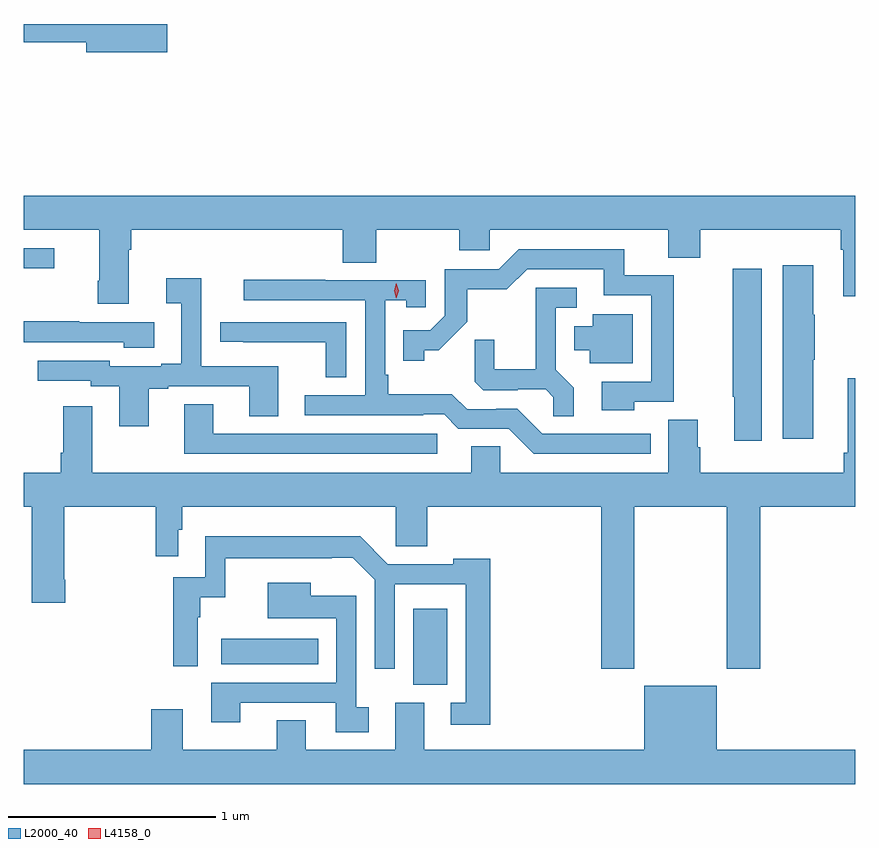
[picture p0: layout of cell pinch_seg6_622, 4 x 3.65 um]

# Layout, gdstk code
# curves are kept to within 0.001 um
import gdstk
lib = gdstk.Library(unit=1e-6, precision=1e-09)
def R(c, l, rs):  # rectangles x0, y0, x1, y1
    for r in rs: c.add(gdstk.rectangle(r[:2], r[2:], *l))
def P(c, l, *ps):  # polygons
    for p in ps: c.add(gdstk.Polygon(p, *l))
L2000_40 = (2000, 40)
L4158_0 = (4158, 0)

pinch_seg6_622 = lib.new_cell('pinch_seg6_622')
R(pinch_seg6_622, L2000_40, [(433.982,971.788,434.146,972.154), (433.059,971.888,433.526,972.01), (432.108,973.791,432.256,973.887)])
P(pinch_seg6_622, L2000_40, [(432.799,974.966),(432.108,974.966),(432.108,974.878),(432.41,974.878),(432.41,974.831),(432.799,974.831)],
  [(432.613,973.88),(432.626,973.88),(432.626,973.976),(433.643,973.976),(433.643,973.819),(433.803,973.819),(433.803,973.976),(434.203,973.976),(434.203,973.878),(434.349,973.878),(434.349,973.976),(435.209,973.976),(435.209,973.843),(435.362,973.843),(435.362,973.976),(436.037,973.976),(436.037,973.88),(436.049,973.88),(436.049,973.656),(436.108,973.656),(436.108,974.14),(432.108,974.14),(432.108,973.976),(432.473,973.976),(432.473,973.732),(432.466,973.732),(432.466,973.62),(432.613,973.62)],
  [(435.045,973.149),(435.235,973.149),(435.235,973.758),(434.996,973.758),(434.996,973.884),(434.49,973.884),(434.394,973.788),(434.133,973.788),(434.133,973.563),(434.064,973.494),(433.933,973.494),(433.933,973.347),(434.034,973.347),(434.034,973.397),(434.104,973.397),(434.242,973.534),(434.242,973.69),(434.431,973.69),(434.529,973.788),(434.897,973.788),(434.897,973.662),(435.126,973.662),(435.126,973.245),(434.889,973.245),(434.889,973.109),(435.045,973.109)],
  [(435.904,973.351),(435.912,973.351),(435.912,973.568),(435.904,973.568),(435.904,973.807),(435.758,973.807),(435.758,972.972),(435.904,972.972)],
  [(435.658,973.789),(435.517,973.789),(435.517,973.175),(435.524,973.175),(435.524,972.963),(435.658,972.963)],
  [(432.709,973.212),(432.805,973.212),(432.805,973.224),(433.193,973.224),(433.193,973.081),(433.333,973.081),(433.333,973.32),(432.963,973.32),(432.963,973.744),(432.795,973.744),(432.795,973.624),(432.866,973.624),(432.866,973.333),(432.77,973.333),(432.77,973.32),(432.522,973.32),(432.522,973.347),(432.177,973.347),(432.177,973.251),(432.432,973.251),(432.432,973.224),(432.569,973.224),(432.569,973.032),(432.709,973.032)],
  [(435.124,972.996),(434.601,972.996),(434.481,973.116),(434.38,973.116),(434.38,973.113),(434.241,973.113),(434.168,973.186),(433.861,973.186),(433.861,973.279),(433.848,973.279),(433.848,973.637),(433.947,973.637),(433.947,973.605),(434.043,973.605),(434.043,973.734),(433.559,973.734),(433.559,973.737),(433.167,973.737),(433.167,973.638),(433.752,973.638),(433.752,973.182),(433.461,973.182),(433.461,973.086),(434.03,973.086),(434.03,973.089),(434.13,973.089),(434.199,973.02),(434.442,973.02),(434.562,972.9),(435.124,972.9)],
  [(434.753,973.217),(434.667,973.303),(434.667,973.602),(434.767,973.602),(434.767,973.698),(434.57,973.698),(434.57,973.306),(434.372,973.306),(434.372,973.449),(434.278,973.449),(434.278,973.247),(434.319,973.206),(434.484,973.206),(434.484,973.209),(434.618,973.209),(434.655,973.172),(434.655,973.081),(434.753,973.081)],
  [(435.037,973.57),(434.846,973.57),(434.846,973.513),(434.756,973.513),(434.756,973.397),(434.831,973.397),(434.831,973.334),(435.037,973.334)],
  [(432.736,973.533),(432.377,973.533),(432.377,973.536),(432.108,973.536),(432.108,973.437),(432.591,973.437),(432.591,973.409),(432.736,973.409)],
  [(433.659,973.533),(433.053,973.533),(433.053,973.438),(433.165,973.438),(433.165,973.437),(433.561,973.437),(433.561,973.267),(433.659,973.267)],
  [(432.299,972.904),(432.287,972.904),(432.287,972.808),(432.108,972.808),(432.108,972.644),(432.148,972.644),(432.148,972.183),(432.308,972.183),(432.308,972.295),(432.303,972.295),(432.303,972.644),(432.744,972.644),(432.744,972.408),(432.852,972.408),(432.852,972.534),(432.872,972.534),(432.872,972.644),(433.897,972.644),(433.897,972.454),(434.048,972.454),(434.048,972.644),(434.885,972.644),(434.885,971.865),(435.045,971.865),(435.045,972.644),(435.49,972.644),(435.49,971.865),(435.65,971.865),(435.65,972.644),(436.108,972.644),(436.108,973.264),(436.07,973.264),(436.07,972.904),(436.051,972.904),(436.051,972.808),(435.362,972.808),(435.362,972.93),(435.349,972.93),(435.349,973.064),(435.209,973.064),(435.209,972.808),(434.4,972.808),(434.4,972.935),(434.261,972.935),(434.261,972.808),(432.439,972.808),(432.439,973.129),(432.299,973.129)],
  [(434.098,972.996),(433.021,972.996),(433.021,973.139),(432.881,973.139),(432.881,972.9),(434.098,972.9)],
  [(434.351,972.394),(434.175,972.394),(434.175,972.369),(433.86,972.369),(433.727,972.502),(432.981,972.502),(432.981,972.306),(432.829,972.306),(432.829,971.877),(432.945,971.877),(432.945,972.113),(432.958,972.113),(432.958,972.209),(433.079,972.209),(433.079,972.398),(433.692,972.399),(433.797,972.294),(433.797,971.865),(433.893,971.865),(433.893,972.273),(434.235,972.273),(434.235,971.703),(434.163,971.703),(434.163,971.598),(434.351,971.598)],
  [(433.768,971.682),(433.707,971.682),(433.707,972.217),(433.489,972.217),(433.489,972.28),(433.283,972.28),(433.283,972.11),(433.611,972.11),(433.611,971.799),(433.01,971.799),(433.01,971.61),(433.15,971.61),(433.15,971.703),(433.61,971.703),(433.61,971.562),(433.768,971.562)],
  [(436.108,971.476),(435.442,971.476),(435.442,971.785),(435.092,971.785),(435.092,971.476),(434.035,971.476),(434.035,971.703),(433.895,971.703),(433.895,971.476),(433.465,971.476),(433.465,971.618),(433.325,971.618),(433.325,971.476),(432.874,971.476),(432.874,971.671),(432.722,971.671),(432.722,971.476),(432.108,971.476),(432.108,971.312),(436.108,971.312)])
P(pinch_seg6_622, L4158_0, [(433.9,973.647),(433.891,973.683),(433.9,973.719),(433.901,973.719),(433.901,973.719),(433.911,973.683),(433.901,973.647),(433.901,973.647)])

lib.write_gds('pinch_seg6_622.gds')
